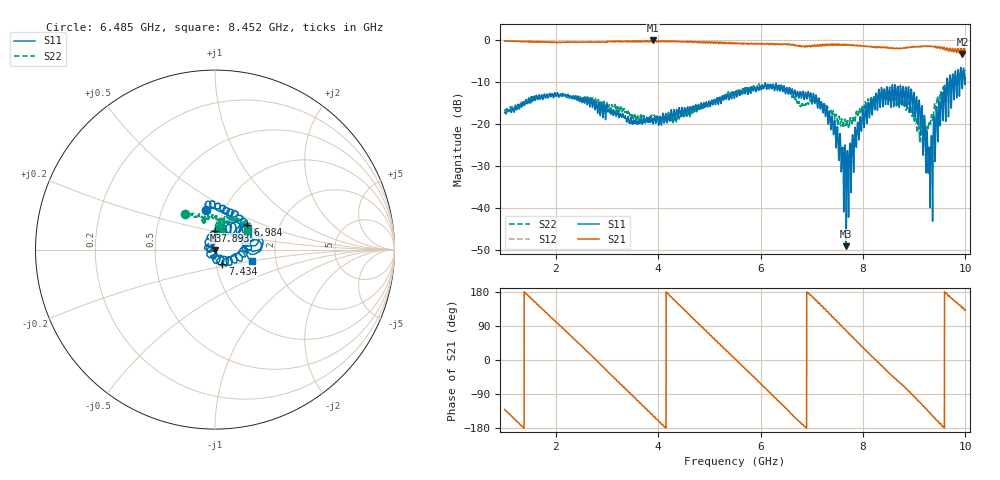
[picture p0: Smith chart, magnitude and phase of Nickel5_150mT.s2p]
#  HZ  S  RI  R  50.0
! Rohde & Schwarz ZVL13 2Ports - Version 3.31 - 1303.6509k13 SN: 101088
! Date: 2023-03-09 14:15:13
! Data & Calibration Information:
! Trc4:S11(TOSM) Trc2:S21(TOSM) Trc3:S12(TOSM) Trc5:S22(TOSM)
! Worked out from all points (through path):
!   4000 points, 1 GHz to 10 GHz, reference 50 ohm
!   highest |S21| = -0.13 dB at 3.89 GHz (marker M1); lowest = -3.3 dB at 9.941 GHz (marker M2)
!   group delay of S21, straight-line fit = 365 ps
!   lowest |S11| = -49.1 dB at 7.673 GHz (marker M3), VSWR 1.01, Z = 50.3 - j0.221 ohm
!   |S11| at or under -10 dB: start of sweep to 9.636 GHz; 9.652522 GHz to 9.687808 GHz (35.29 MHz wide, 0.365 % of centre); 9.709066 GHz to 9.740086 GHz (31.02 MHz wide, 0.319 % of centre)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
!   |S22| runs from -25.8 to -7.2 dB; largest |S21 - S12| = 0.075
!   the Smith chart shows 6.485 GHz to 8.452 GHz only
!   S11 on the Smith chart (normalised r, x): 6.485 GHz: 0.82, +0.38; 6.984 GHz: 1.37, +0.40; 7.434 GHz: 1.07, -0.17; 7.893 GHz: 0.98, +0.20; 8.452 GHz: 1.51, -0.20
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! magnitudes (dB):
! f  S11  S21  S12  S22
! 1 GHz  -17.3  -0.2  -0.2  -16.8
! 1.695 GHz  -14.1  -0.6  -0.4  -13.7
! 2.501 GHz  -14.5  -0.5  -0.6  -13.7
! 3.89 GHz  -18.9  -0.1  -0.3  -19.2
! 4 GHz  -19.5  -0.2  -0.2  -19.3
! 5.501 GHz  -13.2  -0.8  -0.9  -12.6
! 6.485 GHz  -12.8  -1.1  -1.1  -11.7
! 6.984 GHz  -12.9  -1.5  -1.7  -14.8
! 7 GHz  -14.3  -1.3  -1.4  -15.2
! 7.434 GHz  -21.0  -1.0  -1.2  -17.6
! 7.673 GHz  -49.1  -1.2  -1.0  -20.3
! 7.893 GHz  -19.7  -1.3  -1.3  -17.8
! 8.128 GHz  -18.5  -1.6  -1.6  -15.4
! 8.452 GHz  -13.3  -1.8  -1.9  -13.7
! 8.501 GHz  -14.3  -1.9  -2.0  -13.2
! 9.019 GHz  -18.2  -1.6  -1.6  -18.8
! 9.194 GHz  -18.8  -1.6  -1.5  -20.3
! 9.318 GHz  -33.4  -1.5  -1.6  -20.4
! 9.413 GHz  -27.7  -1.5  -1.7  -16.1
! 9.561 GHz  -19.2  -2.2  -2.0  -11.8
! 9.941 GHz  -11.3  -3.3  -2.6  -7.9
! 10 GHz  -9.0  -3.2  -2.7  -7.2
